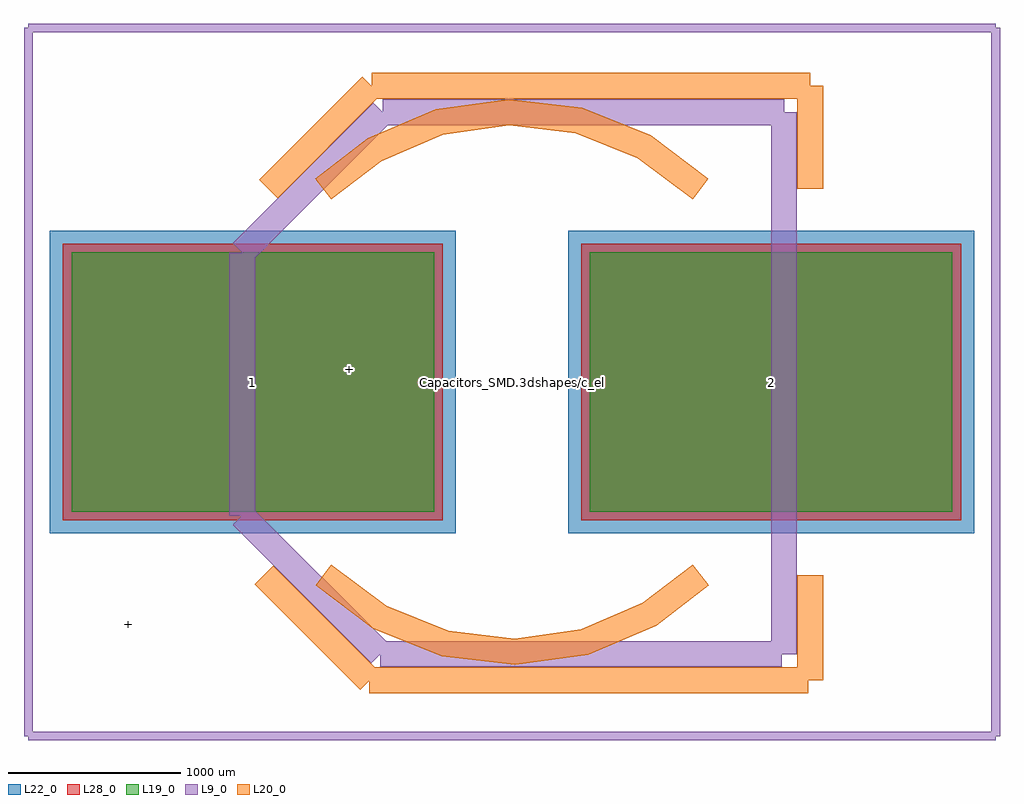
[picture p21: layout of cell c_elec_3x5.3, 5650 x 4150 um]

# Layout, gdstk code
import gdstk
lib = gdstk.Library(unit=1e-6, precision=1e-09)
def R(c, l, rs):  # rectangles x0, y0, x1, y1
    for r in rs: c.add(gdstk.rectangle(r[:2], r[2:], *l))
L9_0 = (9, 0)
L19_0 = (19, 0)
L20_0 = (20, 0)
L22_0 = (22, 0)
L28_0 = (28, 0)

c_elec_3x5_3 = lib.new_cell('c_elec_3x5.3')
R(c_elec_3x5_3, L19_0, [(-2550,-750,-450,750), (450,-750,2550,750)])
R(c_elec_3x5_3, L22_0, [(-2675,-875,-325,875), (325,-875,2675,875)])
R(c_elec_3x5_3, L28_0, [(-2600,-800,-400,800), (400,-800,2600,800)])
c_elec_3x5_3.add(gdstk.FlexPath([(1727.2,1714.5),(-812.8,1714.5)], 149.998, ends="flush", simple_path=True, layer=20, datatype=0))  # L20_0
c_elec_3x5_3.add(gdstk.FlexPath([(-825.5,-1727.2),(1714.5,-1727.2)], 149.998, ends="flush", simple_path=True, layer=20, datatype=0))  # L20_0
c_elec_3x5_3.add(gdstk.FlexPath([(-2800,2050),(-2800,-2050)], 50, ends="flush", simple_path=True, layer=9, datatype=0))  # L9_0
c_elec_3x5_3.add(gdstk.FlexPath([(2800,2050),(-2800,2050)], 50, ends="flush", simple_path=True, layer=9, datatype=0))  # L9_0
c_elec_3x5_3.add(gdstk.FlexPath([(2800,-2050),(2800,2050)], 50, ends="flush", simple_path=True, layer=9, datatype=0))  # L9_0
c_elec_3x5_3.add(gdstk.FlexPath([(-2800,-2050),(2800,-2050)], 50, ends="flush", simple_path=True, layer=9, datatype=0))  # L9_0
c_elec_3x5_3.add(gdstk.FlexPath([(-1092.533,-1117.274),(-766.134,-1361.972),(-387.524,-1513.854),(17.495,-1562.57),(421.321,-1504.799),(796.436,-1344.478),(1092.2,-1117.6)], 149.998, ends="flush", simple_path=True, layer=20, datatype=0))  # L20_0
c_elec_3x5_3.add(gdstk.FlexPath([(1092.533,1117.274),(766.134,1361.972),(387.524,1513.854),(-17.495,1562.57),(-421.321,1504.799),(-796.436,1344.478),(-1092.2,1117.6)], 149.998, ends="flush", simple_path=True, layer=20, datatype=0))  # L20_0
c_elec_3x5_3.add(gdstk.FlexPath([(1727.2,1714.5),(1727.2,1117.6)], 149.998, ends="flush", simple_path=True, layer=20, datatype=0))  # L20_0
c_elec_3x5_3.add(gdstk.FlexPath([(-812.8,1714.5),(-1409.7,1117.6)], 149.998, ends="flush", simple_path=True, layer=20, datatype=0))  # L20_0
c_elec_3x5_3.add(gdstk.FlexPath([(1727.2,-1727.2),(1727.2,-1117.6)], 149.998, ends="flush", simple_path=True, layer=20, datatype=0))  # L20_0
c_elec_3x5_3.add(gdstk.FlexPath([(-825.5,-1727.2),(-1435.1,-1117.6)], 149.998, ends="flush", simple_path=True, layer=20, datatype=0))  # L20_0
c_elec_3x5_3.add(gdstk.FlexPath([(1574.8,1562.1),(-749.3,1562.1)], 149.998, ends="flush", simple_path=True, layer=9, datatype=0))  # L9_0
c_elec_3x5_3.add(gdstk.FlexPath([(1562.1,-1574.8),(-762,-1574.8)], 149.998, ends="flush", simple_path=True, layer=9, datatype=0))  # L9_0
c_elec_3x5_3.add(gdstk.FlexPath([(1574.8,-1574.8),(1574.8,1562.1)], 149.998, ends="flush", simple_path=True, layer=9, datatype=0))  # L9_0
c_elec_3x5_3.add(gdstk.FlexPath([(-762,-1574.8),(-1562.1,-774.7)], 149.998, ends="flush", simple_path=True, layer=9, datatype=0))  # L9_0
c_elec_3x5_3.add(gdstk.FlexPath([(-749.3,1562.1),(-1562.1,749.3)], 149.998, ends="flush", simple_path=True, layer=9, datatype=0))  # L9_0
c_elec_3x5_3.add(gdstk.FlexPath([(-1562.1,749.3),(-1562.1,-774.7)], 149.998, ends="flush", simple_path=True, layer=9, datatype=0))  # L9_0
c_elec_3x5_3.add(gdstk.Label('Capacitors_SMD.3dshapes/c_elec_3x5.3.wrl', (0,0), layer=12, texttype=0))
c_elec_3x5_3.add(gdstk.Label('1', (-1500,0), layer=28, texttype=0))
c_elec_3x5_3.add(gdstk.Label('2', (1500,0), layer=28, texttype=0))
c_elec_3x5_3.add(gdstk.Label('+', (-2222.5,-1397), layer=9, texttype=0))
c_elec_3x5_3.add(gdstk.Label('+', (-939.8,76.2), layer=9, texttype=0))
c_elec_3x5_3.add(gdstk.Label('type', (-25.4,2895.6), layer=9, texttype=0))
c_elec_3x5_3.add(gdstk.Label('devicename', (0,-2895.6), layer=9, texttype=0))

lib.write_gds('c_elec_3x5.3.gds')
